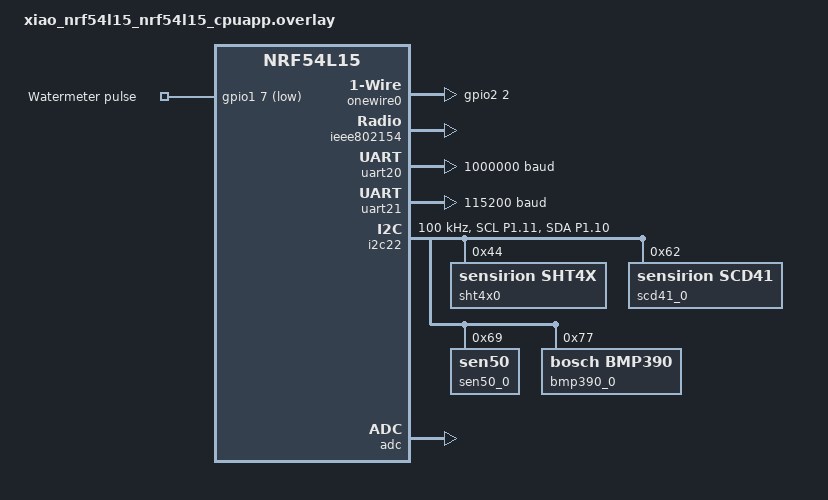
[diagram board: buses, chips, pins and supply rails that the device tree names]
/* ── Battery voltage sensing ─────────────────────────────────────────────
 * P1.14 = AIN7 = battery voltage (via 10K/10K divider, factor 2.0)
 * P1.15 = VBAT_EN = enable pin for the voltage divider (TPS22916)
 *
 * ─────────────────────────────────────────────────────────────────────── */


#include <zephyr/dt-bindings/gpio/gpio.h>

/ {
    chosen {
        zephyr,ieee802154 = &ieee802154;
    };

    aliases {
        onewire0 = &onewire0;
        i2c0     = &i2c22;
        watermeter-pulse = &watermeter_pulse;
    };

    onewire0: w1 {
        compatible = "zephyr,w1-gpio";
        gpios = <&gpio2 2 (GPIO_OPEN_DRAIN | GPIO_PULL_UP)>;
        status = "okay";
    };

    /* Watermeter pulse input on D3 (P1.07).
     * Used only on ND143; harmless on other nodes (just an unused GPIO). */
    pulse_inputs {
        compatible = "gpio-keys";
        watermeter_pulse: watermeter_pulse {
            gpios = <&gpio1 7 GPIO_ACTIVE_LOW>;
            label = "Watermeter pulse";
        };
    };


};

&ieee802154 {
    status = "okay";
};

&uart20 {
    status = "okay";
    current-speed = <1000000>;
};

&uart21 {
    status = "okay";
    current-speed = <115200>;
    pinctrl-0 = <&uart21_default>;
    pinctrl-1 = <&uart21_sleep>;
    pinctrl-names = "default", "sleep";
};

&i2c22 {
    status = "okay";
    clock-frequency = <I2C_BITRATE_STANDARD>;
    pinctrl-0 = <&i2c22_default>;
    pinctrl-1 = <&i2c22_sleep>;
    pinctrl-names = "default", "sleep";

    sht4x0: sht4x@44 {
        compatible = "sensirion,sht4x";
        reg = <0x44>;
        repeatability = <2>;
        status = "okay";
    };

    scd41_0: scd41@62 {
        compatible = "sensirion,scd41";
        reg = <0x62>;
        mode = <1>;
        status = "okay";
    };

    sen50_0: sen50@69 {
        reg = <0x69>;
        status = "okay";
    };

	bmp390_0: bmp390@77 {
    	compatible = "bosch,bmp390";
    	reg = <0x77>;
    	odr = "12.5";
    	osr-press = <8>;
    	osr-temp = <1>;
    	iir-filter = <3>;
	};
    
    
    
};

&pinctrl {
    /omit-if-no-ref/ i2c22_default: i2c22_default {
        group1 {
            psels = <NRF_PSEL(TWIM_SCL, 1, 11)>,
                    <NRF_PSEL(TWIM_SDA, 1, 10)>;
        };
    };

    /omit-if-no-ref/ i2c22_sleep: i2c22_sleep {
        group1 {
            psels = <NRF_PSEL(TWIM_SCL, 1, 11)>,
                    <NRF_PSEL(TWIM_SDA, 1, 10)>;
            low-power-enable;
        };
    };
   
 
};

&adc {
    status = "okay";
};

/* Onboard IMU niet gebruikt - voorkomt init error in log */
&lsm6ds3tr_c {
    status = "disabled";
};
